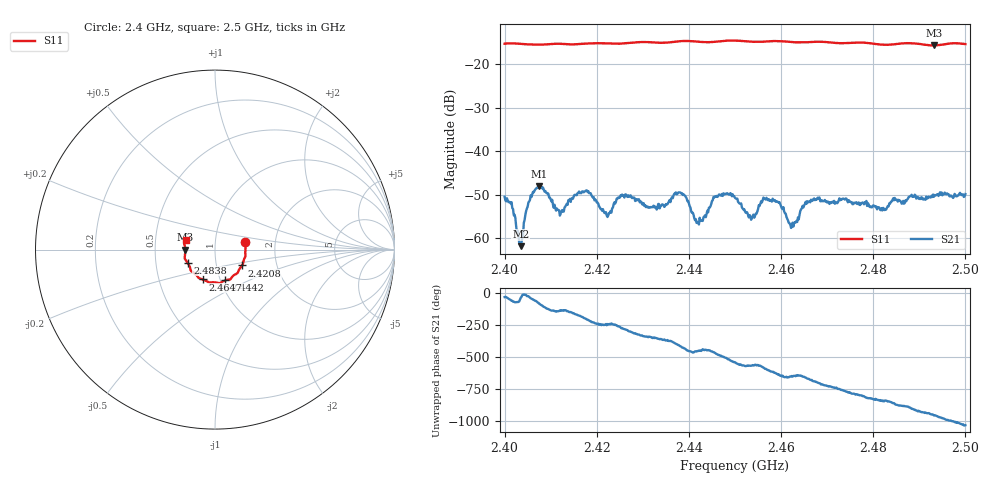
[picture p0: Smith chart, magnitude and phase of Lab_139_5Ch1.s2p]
# Hz S RI R 50
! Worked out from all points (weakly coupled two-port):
!   601 points, 2.4 GHz to 2.5 GHz, reference 50 ohm
!   highest |S21| = -48.12 dB at 2.4075 GHz (marker M1); lowest = -61.9 dB at 2.4035 GHz (marker M2)
!   lowest |S11| = -15.6 dB at 2.4932 GHz (marker M3), VSWR 1.40, Z = 35.8 - j0.0893 ohm
!   |S11| at or under -10 dB: start of sweep to end of sweep
!   S12 and S22 are empty: the file has one direction only
!   S11 on the Smith chart (normalised r, x): 2.4 GHz: 1.40, +0.12; 2.4208 GHz: 1.33, -0.24; 2.4442 GHz: 1.05, -0.37; 2.4647 GHz: 0.83, -0.29; 2.4838 GHz: 0.73, -0.11; 2.5 GHz: 0.72, +0.08
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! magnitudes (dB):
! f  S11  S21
! 2.4 GHz  -15.2  -50.5
! 2.4035 GHz  -15.3  -61.9
! 2.4052 GHz  -15.4  -51.8
! 2.4075 GHz  -15.4  -48.1
! 2.4123 GHz  -15.3  -53.9
! 2.4167 GHz  -15.3  -49.7
! 2.4208 GHz  -15.1  -53.3
! 2.426 GHz  -15.1  -50.7
! 2.4333 GHz  -15.0  -52.2
! 2.438 GHz  -14.7  -49.5
! 2.4417 GHz  -14.7  -56.5
! 2.4442 GHz  -14.9  -54.1
! 2.45 GHz  -14.5  -50.7
! 2.4533 GHz  -14.7  -54.9
! 2.4592 GHz  -14.6  -51.6
! 2.4622 GHz  -14.8  -57.7
! 2.4647 GHz  -14.9  -52.6
! 2.4667 GHz  -14.8  -51.5
! 2.4833 GHz  -15.5  -52.7
! 2.4838 GHz  -15.4  -51.6
! 2.4932 GHz  -15.6  -50.5
! 2.5 GHz  -15.3  -49.9
